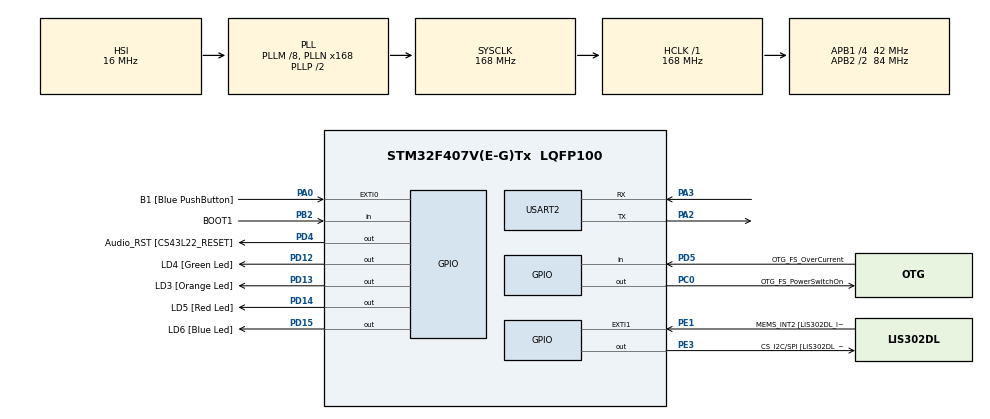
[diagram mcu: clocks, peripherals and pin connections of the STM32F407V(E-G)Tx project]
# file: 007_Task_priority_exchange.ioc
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Mcu.Family=STM32F4
Mcu.Name=STM32F407V(E-G)Tx
Mcu.Package=LQFP100
NVIC.EXTI0_IRQn=true\:6\:0\:true\:false\:true\:true\:true\:true
NVIC.PriorityGroup=NVIC_PRIORITYGROUP_4
NVIC.TIM6_DAC_IRQn=true\:15\:0\:false\:false\:true\:false\:true\:true
NVIC.TimeBase=TIM6_DAC_IRQn
NVIC.TimeBaseIP=TIM6
PA0-WKUP.GPIO_Label=B1 [Blue PushButton]
PA0-WKUP.GPIO_ModeDefaultEXTI=GPIO_MODE_IT_FALLING
PA0-WKUP.Signal=GPXTI0
PA10.GPIO_Label=OTG_FS_ID
PA10.GPIO_Mode=GPIO_MODE_AF_PP
PA10.GPIO_PuPd=GPIO_NOPULL
PA10.GPIO_Speed=GPIO_SPEED_FREQ_LOW
PA10.Signal=USB_OTG_FS_ID
PA11.GPIO_Label=OTG_FS_DM
PA11.GPIO_Mode=GPIO_MODE_AF_PP
PA11.GPIO_PuPd=GPIO_NOPULL
PA11.GPIO_Speed=GPIO_SPEED_FREQ_LOW
PA11.Signal=USB_OTG_FS_DM
PA12.GPIO_Label=OTG_FS_DP
PA12.GPIO_Mode=GPIO_MODE_AF_PP
PA12.GPIO_PuPd=GPIO_NOPULL
PA12.GPIO_Speed=GPIO_SPEED_FREQ_LOW
PA12.Signal=USB_OTG_FS_DP
PA13.GPIO_Label=SWDIO
PA13.Signal=SYS_JTMS-SWDIO
PA14.GPIO_Label=SWCLK
PA14.Signal=SYS_JTCK-SWCLK
PA2.Mode=Asynchronous
PA2.Signal=USART2_TX
PA3.Mode=Asynchronous
PA3.Signal=USART2_RX
PA4.GPIO_Label=I2S3_WS [CS43L22_LRCK]
PA4.GPIO_Mode=GPIO_MODE_AF_PP
PA4.GPIO_PuPd=GPIO_NOPULL
PA4.GPIO_Speed=GPIO_SPEED_FREQ_LOW
PA4.Signal=I2S3_WS
PA5.GPIO_Label=SPI1_SCK [LIS302DL_SCL/SPC]
PA5.GPIO_Mode=GPIO_MODE_AF_PP
PA5.GPIO_PuPd=GPIO_NOPULL
PA5.GPIO_Speed=GPIO_SPEED_FREQ_LOW
PA5.Signal=SPI1_SCK
PA6.GPIO_Label=SPI1_MISO [LIS302DL_SDO]
PA6.GPIO_Mode=GPIO_MODE_AF_PP
PA6.GPIO_PuPd=GPIO_NOPULL
PA6.GPIO_Speed=GPIO_SPEED_FREQ_LOW
PA6.Signal=SPI1_MISO
PA7.GPIO_Label=SPI1_MOSI [LIS302DL_SDA/SDI/SDO]
PA7.GPIO_Mode=GPIO_MODE_AF_PP
PA7.GPIO_PuPd=GPIO_NOPULL
PA7.GPIO_Speed=GPIO_SPEED_FREQ_LOW
PA7.Signal=SPI1_MOSI
PA9.GPIO_Label=VBUS_FS
PA9.GPIO_Mode=GPIO_MODE_INPUT
PA9.GPIO_PuPd=GPIO_NOPULL
PA9.Signal=USB_OTG_FS_VBUS
PB10.GPIO_Label=CLK_IN [MP45DT02_CLK]
PB10.GPIO_Mode=GPIO_MODE_AF_PP
PB10.GPIO_PuPd=GPIO_NOPULL
PB10.GPIO_Speed=GPIO_SPEED_FREQ_LOW
PB10.Signal=I2S2_CK
PB2.GPIO_Label=BOOT1
PB2.GPIO_Mode=GPIO_MODE_INPUT
PB2.GPIO_PuPd=GPIO_NOPULL
PB2.Signal=GPIO_Input
PB3.GPIO_Label=SWO
PB3.Signal=SYS_JTDO-SWO
PB6.GPIO_Label=Audio_SCL [CS43L22_SCL]
PB6.GPIO_Mode=GPIO_MODE_AF_OD
PB6.GPIO_PuPd=GPIO_NOPULL
PB6.GPIO_Speed=GPIO_SPEED_FREQ_LOW
PB6.Signal=I2C1_SCL
PB9.GPIO_Label=Audio_SDA [CS43L22_SDA]
PB9.GPIO_Mode=GPIO_MODE_AF_OD
PB9.GPIO_PuPd=GPIO_NOPULL
PB9.GPIO_Speed=GPIO_SPEED_FREQ_LOW
PB9.Signal=I2C1_SDA
PC0.GPIO_Label=OTG_FS_PowerSwitchOn
PC0.GPIO_PuPd=GPIO_NOPULL
PC0.GPIO_Speed=GPIO_SPEED_FREQ_LOW
PC0.PinState=GPIO_PIN_SET
PC0.Signal=GPIO_Output
PC10.GPIO_Label=I2S3_SCK [CS43L22_SCLK]
PC10.GPIO_Mode=GPIO_MODE_AF_PP
PC10.GPIO_PuPd=GPIO_NOPULL
PC10.GPIO_Speed=GPIO_SPEED_FREQ_LOW
PC10.Signal=I2S3_CK
PC12.GPIO_Label=I2S3_SD [CS43L22_SDIN]
PC12.GPIO_Mode=GPIO_MODE_AF_PP
PC12.GPIO_PuPd=GPIO_NOPULL
PC12.GPIO_Speed=GPIO_SPEED_FREQ_LOW
PC12.Signal=I2S3_SD
PC14-OSC32_IN.GPIO_Label=PC14-OSC32_IN
PC14-OSC32_IN.Signal=RCC_OSC32_IN
PC15-OSC32_OUT.GPIO_Label=PC15-OSC32_OUT
PC15-OSC32_OUT.Signal=RCC_OSC32_OUT
PC3.GPIO_Label=PDM_OUT [MP45DT02_DOUT]
PC3.GPIO_Mode=GPIO_MODE_AF_PP
PC3.GPIO_PuPd=GPIO_NOPULL
PC3.GPIO_Speed=GPIO_SPEED_FREQ_LOW
PC3.Signal=I2S2_SD
PC7.GPIO_Label=I2S3_MCK [CS43L22_MCLK]
PC7.GPIO_Mode=GPIO_MODE_AF_PP
PC7.GPIO_PuPd=GPIO_NOPULL
PC7.GPIO_Speed=GPIO_SPEED_FREQ_LOW
PC7.Signal=I2S3_MCK
PD12.GPIO_Label=LD4 [Green Led]
PD12.GPIO_PuPd=GPIO_NOPULL
PD12.GPIO_Speed=GPIO_SPEED_FREQ_LOW
PD12.Signal=GPIO_Output
PD13.GPIO_Label=LD3 [Orange Led]
PD13.GPIO_PuPd=GPIO_NOPULL
PD13.GPIO_Speed=GPIO_SPEED_FREQ_LOW
PD13.Signal=GPIO_Output
PD14.GPIO_Label=LD5 [Red Led]
PD14.GPIO_PuPd=GPIO_NOPULL
PD14.GPIO_Speed=GPIO_SPEED_FREQ_LOW
PD14.Signal=GPIO_Output
PD15.GPIO_Label=LD6 [Blue Led]
PD15.GPIO_PuPd=GPIO_NOPULL
PD15.GPIO_Speed=GPIO_SPEED_FREQ_LOW
PD15.Signal=GPIO_Output
PD4.GPIO_Label=Audio_RST [CS43L22_RESET]
PD4.GPIO_PuPd=GPIO_NOPULL
PD4.GPIO_Speed=GPIO_SPEED_FREQ_LOW
PD4.Signal=GPIO_Output
PD5.GPIO_Label=OTG_FS_OverCurrent
PD5.GPIO_Mode=GPIO_MODE_INPUT
PD5.GPIO_PuPd=GPIO_NOPULL
PD5.Signal=GPIO_Input
PE1.GPIO_Label=MEMS_INT2 [LIS302DL_INT2]
PE1.GPIO_ModeDefaultEXTI=GPIO_MODE_EVT_RISING
PE1.GPIO_PuPd=GPIO_NOPULL
PE1.Signal=GPXTI1
PE3.GPIO_Label=CS_I2C/SPI [LIS302DL_CS_I2C/SPI]
PE3.GPIO_PuPd=GPIO_NOPULL
PE3.GPIO_Speed=GPIO_SPEED_FREQ_LOW
PE3.Signal=GPIO_Output
PH0-OSC_IN.GPIO_Label=PH0-OSC_IN
PH0-OSC_IN.Signal=RCC_OSC_IN
PH1-OSC_OUT.GPIO_Label=PH1-OSC_OUT
PH1-OSC_OUT.Signal=RCC_OSC_OUT
ProjectManager.HeapSize=0x200
ProjectManager.StackSize=0x400
ProjectManager.TargetToolchain=STM32CubeIDE
RCC.48MHZClocksFreq_Value=48000000
RCC.AHBFreq_Value=168000000
RCC.APB1CLKDivider=RCC_HCLK_DIV4
RCC.APB1Freq_Value=42000000
RCC.APB1TimFreq_Value=84000000
RCC.APB2CLKDivider=RCC_HCLK_DIV2
RCC.APB2Freq_Value=84000000
RCC.APB2TimFreq_Value=168000000
RCC.CortexFreq_Value=168000000
RCC.HCLKFreq_Value=168000000
RCC.HSE_VALUE=8000000
RCC.HSI_VALUE=16000000
RCC.LSE_VALUE=32768
RCC.PLLM=8
RCC.PLLN=168
RCC.PLLQ=7
RCC.SYSCLKFreq_VALUE=168000000
RCC.SYSCLKSource=RCC_SYSCLKSOURCE_PLLCLK
RCC.VCOOutputFreq_Value=336000000
USART2.VirtualMode=VM_ASYNC
VP_SYS_VS_tim6.Mode=TIM6
board=STM32F407G-DISC1

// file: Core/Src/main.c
/* USER CODE BEGIN Header */
/**
  ******************************************************************************
  * @file           : main.c
  * @brief          : Main program body
  ******************************************************************************
  * @attention
  *
  * Copyright (c) 2025 STMicroelectronics.
  * All rights reserved.
  *
  * This software is licensed under terms that can be found in the LICENSE file
  * in the root directory of this software component.
  * If no LICENSE file comes with this software, it is provided AS-IS.
  *
  ******************************************************************************
  */
/* USER CODE END Header */
#include "main.h"

/* USER CODE BEGIN Includes */
	#include<stdio.h>
	#include"FreeRTOS.h"
	#include"task.h"

/* USER CODE END Includes */

UART_HandleTypeDef huart2;

/* USER CODE BEGIN PV */
#define DWT_CTRL  (*(volatile uint32_t*)0xE0001000)

volatile BaseType_t status_button = 0;

/* USER CODE END PV */

void SystemClock_Config(void);
static void MX_GPIO_Init(void);
static void MX_USART2_UART_Init(void);
/* USER CODE BEGIN PFP */
static void led_green_handler(void* parameters);
static void led_orange_handler(void* parameters);
static void switch_priority(void);

extern void SEGGER_UART_init(uint32_t);

/* USER CODE END PFP */

int main(void)
{

  /* USER CODE BEGIN 1 */

	BaseType_t status;

	TaskHandle_t ledg_task_handle;
	TaskHandle_t ledo_task_handle;

  /* USER CODE END 1 */

  /* MCU Configuration--------------------------------------------------------*/

  /* Reset of all peripherals, Initializes the Flash interface and the Systick. */
  HAL_Init();

  /* Configure the system clock */
  SystemClock_Config();

  /* Initialize all configured peripherals */
  MX_GPIO_Init();
  MX_USART2_UART_Init();
  /* USER CODE BEGIN 2 */

  SEGGER_UART_init(500000);

  //Enable the CYCCNT counter
     DWT_CTRL |= (1<<0);

    SEGGER_SYSVIEW_Conf();

   // SEGGER_SYSVIEW_Start();

  	status=xTaskCreate(led_green_handler,"LED-Green",200,NULL,2,&ledg_task_handle);
  	configASSERT(status == pdPASS);

  	status=xTaskCreate(led_orange_handler,"LED-Orng",200,NULL,3,&ledo_task_handle);
  	configASSERT(status == pdPASS);

  	//start the freeRTOS scheduler
  	vTaskStartScheduler();

  /* USER CODE END 2 */

  /* Infinite loop */
  while (1)
  {

  }
}

void SystemClock_Config(void)
{
  RCC_OscInitTypeDef RCC_OscInitStruct = {0};
  RCC_ClkInitTypeDef RCC_ClkInitStruct = {0};

  /** Configure the main internal regulator output voltage
  */
  __HAL_RCC_PWR_CLK_ENABLE();
  __HAL_PWR_VOLTAGESCALING_CONFIG(PWR_REGULATOR_VOLTAGE_SCALE1);

  /** Initializes the RCC Oscillators according to the specified parameters
  * in the RCC_OscInitTypeDef structure.
  */
  RCC_OscInitStruct.OscillatorType = RCC_OSCILLATORTYPE_HSI;
  RCC_OscInitStruct.HSIState = RCC_HSI_ON;
  RCC_OscInitStruct.HSICalibrationValue = RCC_HSICALIBRATION_DEFAULT;
  RCC_OscInitStruct.PLL.PLLState = RCC_PLL_ON;
  RCC_OscInitStruct.PLL.PLLSource = RCC_PLLSOURCE_HSI;
  RCC_OscInitStruct.PLL.PLLM = 8;
  RCC_OscInitStruct.PLL.PLLN = 168;
  RCC_OscInitStruct.PLL.PLLP = RCC_PLLP_DIV2;
  RCC_OscInitStruct.PLL.PLLQ = 7;
  if (HAL_RCC_OscConfig(&RCC_OscInitStruct) != HAL_OK)
  {
    Error_Handler();
  }

  /** Initializes the CPU, AHB and APB buses clocks
  */
  RCC_ClkInitStruct.ClockType = RCC_CLOCKTYPE_HCLK|RCC_CLOCKTYPE_SYSCLK
                              |RCC_CLOCKTYPE_PCLK1|RCC_CLOCKTYPE_PCLK2;
  RCC_ClkInitStruct.SYSCLKSource = RCC_SYSCLKSOURCE_PLLCLK;
  RCC_ClkInitStruct.AHBCLKDivider = RCC_SYSCLK_DIV1;
  RCC_ClkInitStruct.APB1CLKDivider = RCC_HCLK_DIV4;
  RCC_ClkInitStruct.APB2CLKDivider = RCC_HCLK_DIV2;

  if (HAL_RCC_ClockConfig(&RCC_ClkInitStruct, FLASH_LATENCY_5) != HAL_OK)
  {
    Error_Handler();
  }
}

static void MX_USART2_UART_Init(void)
{

  huart2.Instance = USART2;
  huart2.Init.BaudRate = 115200;
  huart2.Init.WordLength = UART_WORDLENGTH_8B;
  huart2.Init.StopBits = UART_STOPBITS_1;
  huart2.Init.Parity = UART_PARITY_NONE;
  huart2.Init.Mode = UART_MODE_TX_RX;
  huart2.Init.HwFlowCtl = UART_HWCONTROL_NONE;
  huart2.Init.OverSampling = UART_OVERSAMPLING_16;
  if (HAL_UART_Init(&huart2) != HAL_OK)
  {
    Error_Handler();
  }

}

static void MX_GPIO_Init(void)
{
  GPIO_InitTypeDef GPIO_InitStruct = {0};

  /* GPIO Ports Clock Enable */
  __HAL_RCC_GPIOE_CLK_ENABLE();
  __HAL_RCC_GPIOC_CLK_ENABLE();
  __HAL_RCC_GPIOH_CLK_ENABLE();
  __HAL_RCC_GPIOA_CLK_ENABLE();
  __HAL_RCC_GPIOB_CLK_ENABLE();
  __HAL_RCC_GPIOD_CLK_ENABLE();

  /*Configure GPIO pin Output Level */
  HAL_GPIO_WritePin(CS_I2C_SPI_GPIO_Port, CS_I2C_SPI_Pin, GPIO_PIN_RESET);

  /*Configure GPIO pin Output Level */
  HAL_GPIO_WritePin(OTG_FS_PowerSwitchOn_GPIO_Port, OTG_FS_PowerSwitchOn_Pin, GPIO_PIN_SET);

  /*Configure GPIO pin Output Level */
  HAL_GPIO_WritePin(GPIOD, LD4_Pin|LD3_Pin|LD5_Pin|LD6_Pin
                          |Audio_RST_Pin, GPIO_PIN_RESET);

  /*Configure GPIO pin : CS_I2C_SPI_Pin */
  GPIO_InitStruct.Pin = CS_I2C_SPI_Pin;
  GPIO_InitStruct.Mode = GPIO_MODE_OUTPUT_PP;
  GPIO_InitStruct.Pull = GPIO_NOPULL;
  GPIO_InitStruct.Speed = GPIO_SPEED_FREQ_LOW;
  HAL_GPIO_Init(CS_I2C_SPI_GPIO_Port, &GPIO_InitStruct);

  /*Configure GPIO pin : OTG_FS_PowerSwitchOn_Pin */
  GPIO_InitStruct.Pin = OTG_FS_PowerSwitchOn_Pin;
  GPIO_InitStruct.Mode = GPIO_MODE_OUTPUT_PP;
  GPIO_InitStruct.Pull = GPIO_NOPULL;
  GPIO_InitStruct.Speed = GPIO_SPEED_FREQ_LOW;
  HAL_GPIO_Init(OTG_FS_PowerSwitchOn_GPIO_Port, &GPIO_InitStruct);

  /*Configure GPIO pin : PDM_OUT_Pin */
  GPIO_InitStruct.Pin = PDM_OUT_Pin;
  GPIO_InitStruct.Mode = GPIO_MODE_AF_PP;
  GPIO_InitStruct.Pull = GPIO_NOPULL;
  GPIO_InitStruct.Speed = GPIO_SPEED_FREQ_LOW;
  GPIO_InitStruct.Alternate = GPIO_AF5_SPI2;
  HAL_GPIO_Init(PDM_OUT_GPIO_Port, &GPIO_InitStruct);

  /*Configure GPIO pin : B1_Pin */
  GPIO_InitStruct.Pin = B1_Pin;
  GPIO_InitStruct.Mode = GPIO_MODE_IT_FALLING;
  GPIO_InitStruct.Pull = GPIO_NOPULL;
  HAL_GPIO_Init(B1_GPIO_Port, &GPIO_InitStruct);

  /*Configure GPIO pin : I2S3_WS_Pin */
  GPIO_InitStruct.Pin = I2S3_WS_Pin;
  GPIO_InitStruct.Mode = GPIO_MODE_AF_PP;
  GPIO_InitStruct.Pull = GPIO_NOPULL;
  GPIO_InitStruct.Speed = GPIO_SPEED_FREQ_LOW;
  GPIO_InitStruct.Alternate = GPIO_AF6_SPI3;
  HAL_GPIO_Init(I2S3_WS_GPIO_Port, &GPIO_InitStruct);

  /*Configure GPIO pins : SPI1_SCK_Pin SPI1_MISO_Pin SPI1_MOSI_Pin */
  GPIO_InitStruct.Pin = SPI1_SCK_Pin|SPI1_MISO_Pin|SPI1_MOSI_Pin;
  GPIO_InitStruct.Mode = GPIO_MODE_AF_PP;
  GPIO_InitStruct.Pull = GPIO_NOPULL;
  GPIO_InitStruct.Speed = GPIO_SPEED_FREQ_LOW;
  GPIO_InitStruct.Alternate = GPIO_AF5_SPI1;
  HAL_GPIO_Init(GPIOA, &GPIO_InitStruct);

  /*Configure GPIO pin : BOOT1_Pin */
  GPIO_InitStruct.Pin = BOOT1_Pin;
  GPIO_InitStruct.Mode = GPIO_MODE_INPUT;
  GPIO_InitStruct.Pull = GPIO_NOPULL;
  HAL_GPIO_Init(BOOT1_GPIO_Port, &GPIO_InitStruct);

  /*Configure GPIO pin : CLK_IN_Pin */
  GPIO_InitStruct.Pin = CLK_IN_Pin;
  GPIO_InitStruct.Mode = GPIO_MODE_AF_PP;
  GPIO_InitStruct.Pull = GPIO_NOPULL;
  GPIO_InitStruct.Speed = GPIO_SPEED_FREQ_LOW;
  GPIO_InitStruct.Alternate = GPIO_AF5_SPI2;
  HAL_GPIO_Init(CLK_IN_GPIO_Port, &GPIO_InitStruct);

  /*Configure GPIO pins : LD4_Pin LD3_Pin LD5_Pin LD6_Pin
                           Audio_RST_Pin */
  GPIO_InitStruct.Pin = LD4_Pin|LD3_Pin|LD5_Pin|LD6_Pin
                          |Audio_RST_Pin;
  GPIO_InitStruct.Mode = GPIO_MODE_OUTPUT_PP;
  GPIO_InitStruct.Pull = GPIO_NOPULL;
  GPIO_InitStruct.Speed = GPIO_SPEED_FREQ_LOW;
  HAL_GPIO_Init(GPIOD, &GPIO_InitStruct);

  /*Configure GPIO pins : I2S3_MCK_Pin I2S3_SCK_Pin I2S3_SD_Pin */
  GPIO_InitStruct.Pin = I2S3_MCK_Pin|I2S3_SCK_Pin|I2S3_SD_Pin;
  GPIO_InitStruct.Mode = GPIO_MODE_AF_PP;
  GPIO_InitStruct.Pull = GPIO_NOPULL;
  GPIO_InitStruct.Speed = GPIO_SPEED_FREQ_LOW;
  GPIO_InitStruct.Alternate = GPIO_AF6_SPI3;
  HAL_GPIO_Init(GPIOC, &GPIO_InitStruct);

  /*Configure GPIO pin : VBUS_FS_Pin */
  GPIO_InitStruct.Pin = VBUS_FS_Pin;
  GPIO_InitStruct.Mode = GPIO_MODE_INPUT;
  GPIO_InitStruct.Pull = GPIO_NOPULL;
  HAL_GPIO_Init(VBUS_FS_GPIO_Port, &GPIO_InitStruct);

  /*Configure GPIO pins : OTG_FS_ID_Pin OTG_FS_DM_Pin OTG_FS_DP_Pin */
  GPIO_InitStruct.Pin = OTG_FS_ID_Pin|OTG_FS_DM_Pin|OTG_FS_DP_Pin;
  GPIO_InitStruct.Mode = GPIO_MODE_AF_PP;
  GPIO_InitStruct.Pull = GPIO_NOPULL;
  GPIO_InitStruct.Speed = GPIO_SPEED_FREQ_LOW;
  GPIO_InitStruct.Alternate = GPIO_AF10_OTG_FS;
  HAL_GPIO_Init(GPIOA, &GPIO_InitStruct);

  /*Configure GPIO pin : OTG_FS_OverCurrent_Pin */
  GPIO_InitStruct.Pin = OTG_FS_OverCurrent_Pin;
  GPIO_InitStruct.Mode = GPIO_MODE_INPUT;
  GPIO_InitStruct.Pull = GPIO_NOPULL;
  HAL_GPIO_Init(OTG_FS_OverCurrent_GPIO_Port, &GPIO_InitStruct);

  /*Configure GPIO pins : Audio_SCL_Pin Audio_SDA_Pin */
  GPIO_InitStruct.Pin = Audio_SCL_Pin|Audio_SDA_Pin;
  GPIO_InitStruct.Mode = GPIO_MODE_AF_OD;
  GPIO_InitStruct.Pull = GPIO_NOPULL;
  GPIO_InitStruct.Speed = GPIO_SPEED_FREQ_LOW;
  GPIO_InitStruct.Alternate = GPIO_AF4_I2C1;
  HAL_GPIO_Init(GPIOB, &GPIO_InitStruct);

  /*Configure GPIO pin : MEMS_INT2_Pin */
  GPIO_InitStruct.Pin = MEMS_INT2_Pin;
  GPIO_InitStruct.Mode = GPIO_MODE_EVT_RISING;
  GPIO_InitStruct.Pull = GPIO_NOPULL;
  HAL_GPIO_Init(MEMS_INT2_GPIO_Port, &GPIO_InitStruct);

  /* EXTI interrupt init*/
  HAL_NVIC_SetPriority(EXTI0_IRQn, 6, 0);
  HAL_NVIC_EnableIRQ(EXTI0_IRQn);

}

/* USER CODE BEGIN 4 */

void button_interrupt_handler(void)
{
	traceISR_ENTER();
	status_button = 1;

	traceISR_EXIT();
}

static void led_green_handler(void* parameters)
{

	while(1)
	{

		SEGGER_SYSVIEW_PrintfTarget("Toggling green led");
		HAL_GPIO_TogglePin(GPIOD, LED_GREEN_PIN);
		HAL_Delay(100);
		switch_priority();
	}

}

static void led_orange_handler(void* parameters)
{

	while(1)
	{

		SEGGER_SYSVIEW_PrintfTarget("Toggling orange led");
		HAL_GPIO_TogglePin(GPIOD, LED_ORANGE_PIN);
		HAL_Delay(1000);
		switch_priority();

	}

}

void switch_priority(void)
{
	UBaseType_t p1,p2;
	xTaskHandle t1,t2,curr;

	BaseType_t switch_priority = 0;

	portENTER_CRITICAL();

	if(status_button)
	{
		status_button = 0;
		switch_priority = 1;

	}

	portEXIT_CRITICAL();

	if(switch_priority)
	{

		t1 = xTaskGetHandle("LED-Green");
		t2 = xTaskGetHandle("LED-Orng");

		p1 = uxTaskPriorityGet(t1);
		p2 = uxTaskPriorityGet(t2);

		curr = xTaskGetCurrentTaskHandle();

		if(curr == t1)
		{
			vTaskPrioritySet(t1,p2);
			vTaskPrioritySet(t2,p1);
		}
		else
		{
			vTaskPrioritySet(t2,p1);
			vTaskPrioritySet(t1,p2);
		}
	}
}

/* USER CODE END 4 */

void HAL_TIM_PeriodElapsedCallback(TIM_HandleTypeDef *htim)
{
  if (htim->Instance == TIM6) {
    HAL_IncTick();
  }
}

void Error_Handler(void)
{
  __disable_irq();
  while (1)
  {
  }
}
